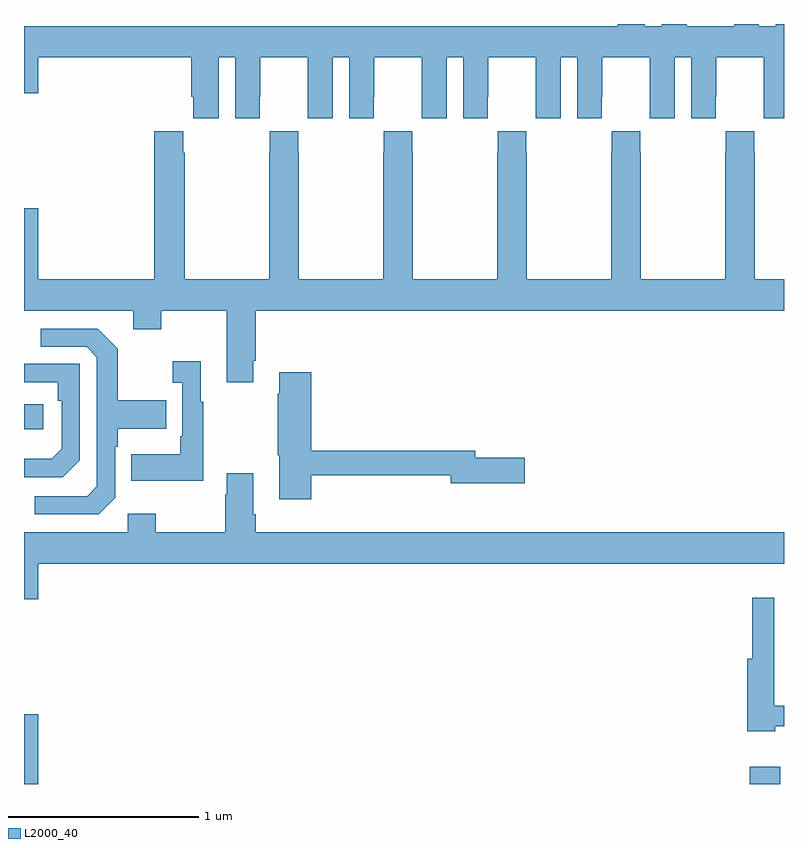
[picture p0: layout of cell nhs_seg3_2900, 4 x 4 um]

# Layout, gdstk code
import gdstk
lib = gdstk.Library(unit=1e-6, precision=1e-09)
def R(c, l, rs):  # rectangles x0, y0, x1, y1
    for r in rs: c.add(gdstk.rectangle(r[:2], r[2:], *l))
def P(c, l, *ps):  # polygons
    for p in ps: c.add(gdstk.Polygon(p, *l))
L2000_40 = (2000, 40)

nhs_seg3_2900 = lib.new_cell('nhs_seg3_2900')
R(nhs_seg3_2900, L2000_40, [(261,722.4,261.076,722.767), (264.821,722.4,264.981,722.491), (261,724.268,261.1,724.398)])
P(nhs_seg3_2900, L2000_40, [(262.024,726.224),(262.112,726.224),(262.112,725.904),(262.242,725.904),(262.242,726.016),(262.243,726.016),(262.243,726.224),(262.493,726.224),(262.493,726.016),(262.494,726.016),(262.494,725.904),(262.624,725.904),(262.624,726.224),(262.712,726.224),(262.712,725.904),(262.842,725.904),(262.842,726.016),(262.843,726.016),(262.843,726.224),(263.093,726.224),(263.093,726.016),(263.094,726.016),(263.094,725.904),(263.224,725.904),(263.224,726.224),(263.312,726.224),(263.312,725.904),(263.442,725.904),(263.442,726.016),(263.443,726.016),(263.443,726.224),(263.693,726.224),(263.693,726.016),(263.694,726.016),(263.694,725.904),(263.824,725.904),(263.824,726.224),(263.912,726.224),(263.912,725.904),(264.042,725.904),(264.042,726.016),(264.043,726.016),(264.043,726.224),(264.293,726.224),(264.293,726.016),(264.294,726.016),(264.294,725.904),(264.424,725.904),(264.424,726.224),(264.512,726.224),(264.512,725.904),(264.642,725.904),(264.642,726.016),(264.643,726.016),(264.643,726.224),(264.893,726.224),(264.893,726.016),(264.894,726.016),(264.894,725.904),(265,725.904),(265,726.4),(264.956,726.4),(264.956,726.388),(264.868,726.388),(264.868,726.4),(264.737,726.4),(264.737,726.388),(264.487,726.388),(264.487,726.4),(264.356,726.4),(264.356,726.388),(264.268,726.388),(264.268,726.4),(264.125,726.4),(264.125,726.388),(261,726.388),(261,726.036),(261.076,726.036),(261.076,726.224),(261.881,726.224),(261.881,726.016),(261.89,726.016),(261.89,725.904),(262.024,725.904)],
  [(262.207,724.627),(262.22,724.627),(262.22,724.892),(265,724.892),(265,725.056),(264.846,725.056),(264.846,725.723),(264.843,725.723),(264.843,725.836),(264.693,725.836),(264.693,725.723),(264.691,725.723),(264.691,725.056),(264.246,725.056),(264.246,725.723),(264.243,725.723),(264.243,725.836),(264.093,725.836),(264.093,725.723),(264.091,725.723),(264.091,725.056),(263.646,725.056),(263.646,725.723),(263.643,725.723),(263.643,725.836),(263.493,725.836),(263.493,725.723),(263.491,725.723),(263.491,725.056),(263.046,725.056),(263.046,725.723),(263.043,725.723),(263.043,725.836),(262.893,725.836),(262.893,725.723),(262.891,725.723),(262.891,725.056),(262.446,725.056),(262.446,725.723),(262.443,725.723),(262.443,725.836),(262.293,725.836),(262.293,725.723),(262.291,725.723),(262.291,725.056),(261.846,725.056),(261.846,725.723),(261.839,725.723),(261.839,725.836),(261.686,725.836),(261.686,725.056),(261.076,725.056),(261.076,725.431),(261,725.431),(261,724.892),(261.575,724.892),(261.575,724.793),(261.723,724.793),(261.723,724.892),(262.067,724.892),(262.067,724.515),(262.207,724.515)],
  [(261.48,723.906),(261.48,724.175),(261.493,724.175),(261.493,724.271),(261.749,724.271),(261.749,724.419),(261.493,724.419),(261.493,724.691),(261.387,724.797),(261.087,724.797),(261.087,724.701),(261.33,724.701),(261.384,724.647),(261.384,723.966),(261.333,723.915),(261.057,723.915),(261.057,723.819),(261.393,723.819)],
  [(261.943,724.411),(261.931,724.411),(261.931,724.624),(261.783,724.624),(261.783,724.511),(261.834,724.511),(261.834,724.231),(261.822,724.231),(261.822,724.135),(261.565,724.135),(261.565,723.995),(261.943,723.995)],
  [(261.294,724.104),(261.294,724.611),(261,724.611),(261,724.515),(261.178,724.515),(261.178,724.418),(261.198,724.418),(261.198,724.164),(261.145,724.111),(261,724.111),(261,724.014),(261.204,724.014)],
  [(262.511,724.026),(263.246,724.026),(263.246,723.983),(263.635,723.983),(263.635,724.118),(263.374,724.118),(263.374,724.154),(262.511,724.154),(262.511,724.567),(262.343,724.567),(262.343,724.454),(262.336,724.454),(262.336,724.131),(262.343,724.131),(262.343,723.9),(262.511,723.9)],
  [(261.076,723.56),(265,723.56),(265,723.724),(262.22,723.724),(262.22,723.82),(262.207,723.82),(262.207,724.036),(262.067,724.036),(262.067,723.923),(262.06,723.923),(262.06,723.724),(261.693,723.724),(261.693,723.823),(261.546,723.823),(261.546,723.724),(261,723.724),(261,723.372),(261.076,723.372)],
  [(264.953,722.703),(265,722.703),(265,722.812),(264.948,722.812),(264.948,723.379),(264.832,723.379),(264.832,723.058),(264.806,723.058),(264.806,722.678),(264.953,722.678)])

lib.write_gds('nhs_seg3_2900.gds')
